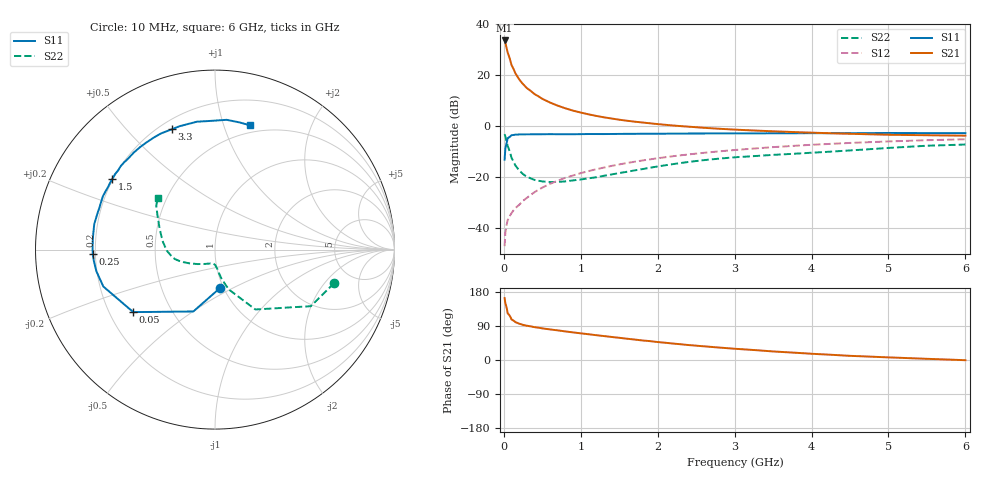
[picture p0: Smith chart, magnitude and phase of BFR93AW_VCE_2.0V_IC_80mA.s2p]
! (c) 2017  Infineon Technologies AG, Munich
! Infineon Technologies  Discrete & RF Semiconductors
! BFR93AW
! VCE =  2.0 V,  IC =  80 mA
! Common Emitter S-Parameters:  Jan 2017
# GHz  S  MA  R  50
!  f  S11  S21  S12  S22
! GHz  MAG  ANG  MAG  ANG  MAG  ANG  MAG  ANG
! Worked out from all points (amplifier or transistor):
!   77 points, 10 MHz to 6 GHz, reference 50 ohm
!   highest |S21| = 33.6 dB at 10 MHz (marker M1)
!   |S21| within 3 dB of that: start of sweep to 36.23 MHz
!   unconditionally stable (mu >= 1): start of sweep to 12.97 MHz; 132 MHz to end of sweep
!   at 130 MHz: K = 0.99, MSG = 27.6 dB, |S12| = -33.1 dB
!   at 2.2 GHz: K = 1.15, MAG = 3.7 dB, |S12| = -11.9 dB
!   at 6 GHz: K = 1.03, MAG = -0.4 dB, |S12| = -5.3 dB
!   S11 on the Smith chart (normalised r, x): 10 MHz: 0.96, -0.43; 50 MHz: 0.30, -0.31; 250 MHz: 0.19, -0.02; 1.5 GHz: 0.20, +0.30; 3.3 GHz: 0.25, +0.68; 6 GHz: 0.43, +1.23
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0.01  0.2162 -82.7  47.94 163.3  0.0043 62.9  0.6891 -15.8
0.02  0.3652 -109.3  43.29 149.2  0.008 59.9  0.6198 -30.6
0.05  0.5732 -142.6  27.66 123.1  0.014 49.6  0.4023 -56.0
0.1  0.6554 -161.7  15.75 106.8  0.0192 53.7  0.235 -71.0
0.15  0.6721 -169.8  10.81 100.0  0.0242 56.9  0.1667 -77.3
0.2  0.6777 -174.5  8.199 95.8  0.028 61.2  0.1326 -80.5
0.25  0.6816 -177.9  6.617 92.6  0.0336 64.1  0.1125 -82.6
0.3  0.6821 179.3  5.536 90.4  0.0384 66.9  0.0993 -85.1
0.4  0.6834 175.0  4.216 86.6  0.0497 70.0  0.0864 -89.3
0.5  0.6845 171.4  3.407 83.5  0.0611 70.8  0.0807 -93.9
0.6  0.6877 168.1  2.88 80.7  0.0723 71.5  0.0786 -98.7
0.7  0.6856 165.3  2.499 78.2  0.0834 72.1  0.0788 -103.0
0.9  0.6851 159.8  1.994 72.8  0.1058 71.5  0.0846 -112.3
1.1  0.6915 154.6  1.689 68.0  0.1288 70.3  0.093 -121.3
1.3  0.6904 149.7  1.474 63.2  0.1512 68.8  0.1044 -129.1
1.5  0.6951 145.3  1.323 58.6  0.1744 66.9  0.118 -137.1
2.1  0.7022 132.1  1.05 45.5  0.2419 60.4  0.168 -153.5
3.1  0.7125 113.1  0.831 28.4  0.3443 48.3  0.2461 -171.7
3.3  0.7125 109.6  0.806 25.6  0.3629 45.8  0.2571 -175.5
4.1  0.7185 96.6  0.728 15.4  0.4321 36.1  0.3021 168.1
5.1  0.7245 83.7  0.666 6.2  0.4999 24.2  0.3757 148.7
6  0.7192 74.2  0.642 -0.5  0.5458 14.4  0.4301 138.0
